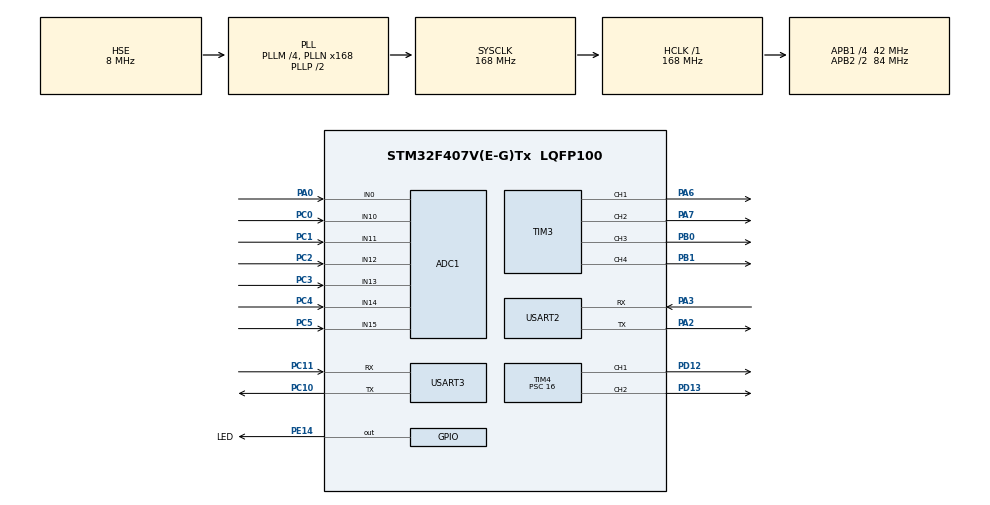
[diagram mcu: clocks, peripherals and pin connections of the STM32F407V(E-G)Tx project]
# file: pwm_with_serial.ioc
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ADC1.Channel-3\#ChannelRegularConversion=ADC_CHANNEL_0
ADC1.Channel-4\#ChannelRegularConversion=ADC_CHANNEL_10
ADC1.Channel-5\#ChannelRegularConversion=ADC_CHANNEL_11
ADC1.Channel-6\#ChannelRegularConversion=ADC_CHANNEL_12
ADC1.Channel-7\#ChannelRegularConversion=ADC_CHANNEL_13
ADC1.Channel-8\#ChannelRegularConversion=ADC_CHANNEL_14
ADC1.Channel-9\#ChannelRegularConversion=ADC_CHANNEL_15
ADC1.ContinuousConvMode=ENABLE
ADC1.NbrOfConversion=7
ADC1.NbrOfConversionFlag=1
ADC1.Rank-3\#ChannelRegularConversion=1
ADC1.Rank-4\#ChannelRegularConversion=2
ADC1.Rank-5\#ChannelRegularConversion=3
ADC1.Rank-6\#ChannelRegularConversion=4
ADC1.Rank-7\#ChannelRegularConversion=5
ADC1.Rank-8\#ChannelRegularConversion=6
ADC1.Rank-9\#ChannelRegularConversion=7
ADC1.SamplingTime-3\#ChannelRegularConversion=ADC_SAMPLETIME_15CYCLES
ADC1.SamplingTime-4\#ChannelRegularConversion=ADC_SAMPLETIME_15CYCLES
ADC1.SamplingTime-5\#ChannelRegularConversion=ADC_SAMPLETIME_15CYCLES
ADC1.SamplingTime-6\#ChannelRegularConversion=ADC_SAMPLETIME_15CYCLES
ADC1.SamplingTime-7\#ChannelRegularConversion=ADC_SAMPLETIME_15CYCLES
ADC1.SamplingTime-8\#ChannelRegularConversion=ADC_SAMPLETIME_15CYCLES
ADC1.SamplingTime-9\#ChannelRegularConversion=ADC_SAMPLETIME_15CYCLES
ADC1.master=1
Dma.ADC1.1.Direction=DMA_PERIPH_TO_MEMORY
Dma.ADC1.1.FIFOMode=DMA_FIFOMODE_DISABLE
Dma.ADC1.1.Instance=DMA2_Stream0
Dma.ADC1.1.MemDataAlignment=DMA_MDATAALIGN_WORD
Dma.ADC1.1.MemInc=DMA_MINC_ENABLE
Dma.ADC1.1.Mode=DMA_CIRCULAR
Dma.ADC1.1.PeriphDataAlignment=DMA_PDATAALIGN_WORD
Dma.ADC1.1.PeriphInc=DMA_PINC_DISABLE
Dma.ADC1.1.Priority=DMA_PRIORITY_LOW
Dma.Request0=USART2_RX
Dma.Request1=ADC1
Dma.Request2=USART3_RX
Dma.Request3=USART3_TX
Dma.USART2_RX.0.Direction=DMA_PERIPH_TO_MEMORY
Dma.USART2_RX.0.FIFOMode=DMA_FIFOMODE_DISABLE
Dma.USART2_RX.0.Instance=DMA1_Stream5
Dma.USART2_RX.0.MemDataAlignment=DMA_MDATAALIGN_BYTE
Dma.USART2_RX.0.MemInc=DMA_MINC_ENABLE
Dma.USART2_RX.0.Mode=DMA_NORMAL
Dma.USART2_RX.0.PeriphDataAlignment=DMA_PDATAALIGN_BYTE
Dma.USART2_RX.0.PeriphInc=DMA_PINC_DISABLE
Dma.USART2_RX.0.Priority=DMA_PRIORITY_LOW
Dma.USART3_RX.2.Direction=DMA_PERIPH_TO_MEMORY
Dma.USART3_RX.2.FIFOMode=DMA_FIFOMODE_DISABLE
Dma.USART3_RX.2.Instance=DMA1_Stream1
Dma.USART3_RX.2.MemDataAlignment=DMA_MDATAALIGN_BYTE
Dma.USART3_RX.2.MemInc=DMA_MINC_ENABLE
Dma.USART3_RX.2.Mode=DMA_NORMAL
Dma.USART3_RX.2.PeriphDataAlignment=DMA_PDATAALIGN_BYTE
Dma.USART3_RX.2.PeriphInc=DMA_PINC_DISABLE
Dma.USART3_RX.2.Priority=DMA_PRIORITY_LOW
Dma.USART3_TX.3.Direction=DMA_MEMORY_TO_PERIPH
Dma.USART3_TX.3.FIFOMode=DMA_FIFOMODE_DISABLE
Dma.USART3_TX.3.Instance=DMA1_Stream3
Dma.USART3_TX.3.MemDataAlignment=DMA_MDATAALIGN_BYTE
Dma.USART3_TX.3.MemInc=DMA_MINC_ENABLE
Dma.USART3_TX.3.Mode=DMA_NORMAL
Dma.USART3_TX.3.PeriphDataAlignment=DMA_PDATAALIGN_BYTE
Dma.USART3_TX.3.PeriphInc=DMA_PINC_DISABLE
Dma.USART3_TX.3.Priority=DMA_PRIORITY_LOW
Mcu.Family=STM32F4
Mcu.Name=STM32F407V(E-G)Tx
Mcu.Package=LQFP100
NVIC.DMA1_Stream1_IRQn=true\:0\:0\:false\:false\:true\:false\:true
NVIC.DMA1_Stream3_IRQn=true\:0\:0\:false\:false\:true\:false\:true
NVIC.DMA1_Stream5_IRQn=true\:0\:0\:false\:false\:true\:false\:true
NVIC.DMA2_Stream0_IRQn=true\:0\:0\:false\:false\:true\:false\:true
NVIC.PriorityGroup=NVIC_PRIORITYGROUP_4
NVIC.USART2_IRQn=true\:0\:0\:false\:false\:true\:true\:true
PA0-WKUP.Signal=ADCx_IN0
PA13.Mode=Serial_Wire
PA13.Signal=SYS_JTMS-SWDIO
PA14.Mode=Serial_Wire
PA14.Signal=SYS_JTCK-SWCLK
PA2.Mode=Asynchronous
PA2.Signal=USART2_TX
PA3.Mode=Asynchronous
PA3.Signal=USART2_RX
PA6.Signal=S_TIM3_CH1
PA7.Signal=S_TIM3_CH2
PB0.Signal=S_TIM3_CH3
PB1.Signal=S_TIM3_CH4
PB3.Signal=SYS_JTDO-SWO
PC0.Signal=ADCx_IN10
PC1.Signal=ADCx_IN11
PC10.Mode=Asynchronous
PC10.Signal=USART3_TX
PC11.Mode=Asynchronous
PC11.Signal=USART3_RX
PC2.Signal=ADCx_IN12
PC3.Signal=ADCx_IN13
PC4.Signal=ADCx_IN14
PC5.Signal=ADCx_IN15
PD12.Signal=S_TIM4_CH1
PD13.Signal=S_TIM4_CH2
PE14.GPIO_Label=LED
PE14.GPIO_PuPd=GPIO_PULLDOWN
PE14.Signal=GPIO_Output
PH0-OSC_IN.Mode=HSE-External-Oscillator
PH0-OSC_IN.Signal=RCC_OSC_IN
PH1-OSC_OUT.Mode=HSE-External-Oscillator
PH1-OSC_OUT.Signal=RCC_OSC_OUT
ProjectManager.HeapSize=0x200
ProjectManager.StackSize=0x400
ProjectManager.TargetToolchain=STM32CubeIDE
RCC.48MHZClocksFreq_Value=84000000
RCC.AHBFreq_Value=168000000
RCC.APB1CLKDivider=RCC_HCLK_DIV4
RCC.APB1Freq_Value=42000000
RCC.APB1TimFreq_Value=84000000
RCC.APB2CLKDivider=RCC_HCLK_DIV2
RCC.APB2Freq_Value=84000000
RCC.APB2TimFreq_Value=168000000
RCC.CortexFreq_Value=168000000
RCC.HCLKFreq_Value=168000000
RCC.HSE_VALUE=8000000
RCC.HSI_VALUE=16000000
RCC.LSE_VALUE=32768
RCC.PLLM=4
RCC.PLLN=168
RCC.PLLSourceVirtual=RCC_PLLSOURCE_HSE
RCC.SYSCLKFreq_VALUE=168000000
RCC.SYSCLKSource=RCC_SYSCLKSOURCE_PLLCLK
RCC.VCOOutputFreq_Value=336000000
SH.ADCx_IN0.0=ADC1_IN0,IN0
SH.ADCx_IN10.0=ADC1_IN10,IN10
SH.ADCx_IN11.0=ADC1_IN11,IN11
SH.ADCx_IN12.0=ADC1_IN12,IN12
SH.ADCx_IN13.0=ADC1_IN13,IN13
SH.ADCx_IN14.0=ADC1_IN14,IN14
SH.ADCx_IN15.0=ADC1_IN15,IN15
SH.S_TIM3_CH1.0=TIM3_CH1,PWM Generation1 CH1
SH.S_TIM3_CH2.0=TIM3_CH2,PWM Generation2 CH2
SH.S_TIM3_CH3.0=TIM3_CH3,PWM Generation3 CH3
SH.S_TIM3_CH4.0=TIM3_CH4,PWM Generation4 CH4
SH.S_TIM4_CH1.0=TIM4_CH1,PWM Generation1 CH1
SH.S_TIM4_CH2.0=TIM4_CH2,PWM Generation2 CH2
TIM3.Channel-PWM\ Generation1\ CH1=TIM_CHANNEL_1
TIM3.Channel-PWM\ Generation2\ CH2=TIM_CHANNEL_2
TIM3.Channel-PWM\ Generation3\ CH3=TIM_CHANNEL_3
TIM3.Channel-PWM\ Generation4\ CH4=TIM_CHANNEL_4
TIM4.Channel-PWM\ Generation1\ CH1=TIM_CHANNEL_1
TIM4.Channel-PWM\ Generation2\ CH2=TIM_CHANNEL_2
TIM4.Period=100
TIM4.Prescaler=16
TIM4.Pulse-PWM\ Generation1\ CH1=50
USART2.VirtualMode=VM_ASYNC
USART3.VirtualMode=VM_ASYNC
VP_TIM3_VS_ClockSourceINT.Mode=Internal
VP_TIM4_VS_ClockSourceINT.Mode=Internal
board=custom

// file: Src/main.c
/* USER CODE BEGIN Header */
/**
  ******************************************************************************
  * @file           : main.c
  * @brief          : Main program body
  ******************************************************************************
  * @attention
  *
  * <h2><center>&copy; Copyright (c) 2019 STMicroelectronics.
  * All rights reserved.</center></h2>
  *
  * This software component is licensed by ST under BSD 3-Clause license,
  * the "License"; You may not use this file except in compliance with the
  * License. You may obtain a copy of the License at:
  *                        opensource.org/licenses/BSD-3-Clause
  *
  ******************************************************************************
  */
/* USER CODE END Header */

#include "main.h"

/* USER CODE BEGIN Includes */
#include "UartRingbuffer.h"
#include "cosine_transform.h"
#include <stdio.h>
/* USER CODE END Includes */

/* USER CODE BEGIN PD */
#define EPOCH_TIME_SECONDS 1
#define REFERENCE_VOLTAGE_VOLTS 4.5
#define GAIN_SETTING 24.0
/* USER CODE END PD */

ADC_HandleTypeDef hadc1;
DMA_HandleTypeDef hdma_adc1;

TIM_HandleTypeDef htim3;
TIM_HandleTypeDef htim4;

UART_HandleTypeDef huart2;
UART_HandleTypeDef huart3;
DMA_HandleTypeDef hdma_usart2_rx;
DMA_HandleTypeDef hdma_usart3_rx;
DMA_HandleTypeDef hdma_usart3_tx;

/* USER CODE BEGIN PV */

#ifdef __GNUC__
	#define PUTCHAR_PROTOTYPE int __io_putchar(int ch)
#else
	#define PUTCHAR_PROTOTYPE int fputc(int ch, FILE *f)
#endif

PUTCHAR_PROTOTYPE
{
	HAL_UART_Transmit(&huart2, (uint8_t*)&ch, 1, 0xFFFF);
	return ch;
}

void user_pwm_setvalue(long value);
/* USER CODE END PV */

void SystemClock_Config(void);
static void MX_GPIO_Init(void);
static void MX_DMA_Init(void);
static void MX_TIM4_Init(void);
static void MX_USART2_UART_Init(void);
static void MX_ADC1_Init(void);
static void MX_TIM3_Init(void);
static void MX_USART3_UART_Init(void);
/* USER CODE BEGIN PFP */

unsigned long allocate_sample(unsigned long*, unsigned long*, unsigned long [][524]);
int parse_sample(unsigned char [], unsigned long*, unsigned long*);
int get_time_section(unsigned int, unsigned long [], double, unsigned long, unsigned long [][524]);
unsigned long convert_twos_compliment_to_decimal(unsigned long);
double convert_sample_to_voltage(unsigned long);
void convert_epoch_to_volts(unsigned long[], double[]);

/* USER CODE END PFP */

/* USER CODE BEGIN 0 */
uint32_t adc_values[7] = {0}; //to store the adc values

float get_voltage(uint32_t adc_reading) {
	return ((float)adc_reading * 3.3 / (float)32768);  // since 3.3V system and 15 bit adc resolution
}

/* USER CODE END 0 */

int main(void)
{

  /* MCU Configuration--------------------------------------------------------*/

  /* Reset of all peripherals, Initializes the Flash interface and the Systick. */
  HAL_Init();

  /* Configure the system clock */
  SystemClock_Config();

  /* Initialize all configured peripherals */
  MX_GPIO_Init();
  MX_DMA_Init();
  MX_TIM4_Init();
  MX_USART2_UART_Init();
  MX_ADC1_Init();
  MX_TIM3_Init();
  MX_USART3_UART_Init();
  /* USER CODE BEGIN 2 */
  HAL_ADC_Start_DMA(&hadc1, adc_values, 7); //start the adc in dma mode

  Ringbuf_init();
  HAL_TIM_PWM_Start(&htim4, TIM_CHANNEL_1);
//  long pwm_value = 0;
//  int step = 0;

  unsigned char buffer_data[40] = {0};
  int byte_num = 0;
  unsigned long all_samples[2][524];
  unsigned long current_sample = 0;
  int buffer_filled = 0;

  /* USER CODE END 2 */

  /* Infinite loop */
  while (1)
  {

    /* USER CODE BEGIN 3 */

	  if (IsDataAvailable()) {
		  if (byte_num >= 40) {
			  byte_num = 0;
		  }
		  buffer_data[byte_num] = Uart_read();

          if (buffer_data[byte_num] == '\n' || buffer_data[byte_num] == '\r') {
        	  unsigned long this_sample;
        	  unsigned long this_sample_id;
        	  //printf("Parsing sample...\r\n");
        	  int parse_success = parse_sample(buffer_data, &this_sample_id, &this_sample);
        	  if (parse_success) {
        		  //printf("Parsed the sample\r\n");
        		  current_sample = allocate_sample(&this_sample_id, &this_sample, all_samples);
        		  printf("Sample: %lu\n\r", all_samples[0][current_sample]);
//        		  printf("\r\nSo far we have:\n\r");
//        		  for (unsigned long i = 0; i <= current_sample; i++) {
//        			  printf("Sample %lu:\r\n", i);
//        			  printf("\tSample ID:\t %lu\r\n", all_samples[0][i]);
//        			  printf("\tCH1:\t %lu\r\n", all_samples[1][i]);
//        		  }
        		  if (current_sample >= (250 * EPOCH_TIME_SECONDS) - 1) {
        			  buffer_filled = 1;
        		  }
        		  if (buffer_filled) {
        			  unsigned long last_epoch[250 * EPOCH_TIME_SECONDS] = {0};
        			  double last_epoch_volts[250 * EPOCH_TIME_SECONDS] = {0};
        			  double *DCT_Coeffs;
        			  get_time_section(1, last_epoch, EPOCH_TIME_SECONDS, current_sample, all_samples);
        			  convert_epoch_to_volts(last_epoch, last_epoch_volts);
        			  DCT_Coeffs = cosine_transform_data(250 * EPOCH_TIME_SECONDS, last_epoch_volts);

        			  printf("These are the DCT Coeffs:\n\r");
        			  for (int i = 0; i < (250 * EPOCH_TIME_SECONDS); i++) {
        				  printf("\t%f\n\r", DCT_Coeffs[i]);
        			  }
        			  printf("\n\r");
        		  }

              }
          byte_num = 0;
          }
          else {
        	  byte_num++;
        	  //printf("Byte Num: %d\r\n", byte_num);

          }
//		  Uart_write(data);
//		  if (data == '\r') {
//			  double* DCT_Coeffs;
//			  double signal[10] = {1.23, 1.45, 5.656, 23.65, 2.56, 34.54, 6.43, 1.34, 8.98, 10.00};
//			  DCT_Coeffs = cosine_transform_data(10, signal);
//			  for (int i = 0; i < 10; i++) {
//				  printf("This is the coefficient:");
//				  printf("%lf\r\n", DCT_Coeffs[i]);
//			  }
//		  }

	  }

//	  Uart_sendstring("CH0- ");
//	  Uart_write((adc_values[0]/1000)+48);
//	  Uart_write(((adc_values[0]%1000)/100)+48);
//	  Uart_write(((adc_values[0]%100)/10)+48);
//	  Uart_write(((adc_values[0]%10))+48);
//	  Uart_sendstring("\r\n");
//	  Uart_sendstring("CH1- ");
//	  Uart_write((adc_values[1]/1000)+48);
//	  Uart_write(((adc_values[1]%1000)/100)+48);
//	  Uart_write(((adc_values[1]%100)/10)+48);
//	  Uart_write(((adc_values[1]%10))+48);
//	  Uart_sendstring("\r\n");
//	  Uart_sendstring("CH2- ");
//	  Uart_write((adc_values[2]/1000)+48);
//	  Uart_write(((adc_values[2]%1000)/100)+48);
//	  Uart_write(((adc_values[2]%100)/10)+48);
//	  Uart_write(((adc_values[2]%10))+48);
//	  Uart_sendstring("\r\n");
//	  Uart_sendstring("CH3- ");
//	  Uart_write((adc_values[3]/1000)+48);
//	  Uart_write(((adc_values[3]%1000)/100)+48);
//	  Uart_write(((adc_values[3]%100)/10)+48);
//	  Uart_write(((adc_values[3]%10))+48);
//	  Uart_sendstring("\r\n");
//	  Uart_sendstring("CH4- ");
//	  Uart_write((adc_values[4]/1000)+48);
//	  Uart_write(((adc_values[4]%1000)/100)+48);
//	  Uart_write(((adc_values[4]%100)/10)+48);
//	  Uart_write(((adc_values[4]%10))+48);
//	  Uart_sendstring("\r\n");
//	  Uart_sendstring("CH5- ");
//	  Uart_write((adc_values[5]/1000)+48);
//	  Uart_write(((adc_values[5]%1000)/100)+48);
//	  Uart_write(((adc_values[5]%100)/10)+48);
//	  Uart_write(((adc_values[5]%10))+48);
//	  Uart_sendstring("\r\n");
//	  Uart_sendstring("CH6- ");
//	  Uart_write((adc_values[6]/1000)+48);
//	  Uart_write(((adc_values[6]%1000)/100)+48);
//	  Uart_write(((adc_values[6]%100)/10)+48);
//	  Uart_write(((adc_values[6]%10))+48);
//	  Uart_sendstring("\r\n");
//	  Uart_sendstring("\r\n");

//	  HAL_Delay(1000);
//	  if(pwm_value == 0) step = 100;
//	  if(pwm_value == 2000) step = -100;
//	  pwm_value += step;
//	  user_pwm_setvalue(pwm_value);
  }
  /* USER CODE END 3 */
}

void SystemClock_Config(void)
{
  RCC_OscInitTypeDef RCC_OscInitStruct = {0};
  RCC_ClkInitTypeDef RCC_ClkInitStruct = {0};

  /** Configure the main internal regulator output voltage
  */
  __HAL_RCC_PWR_CLK_ENABLE();
  __HAL_PWR_VOLTAGESCALING_CONFIG(PWR_REGULATOR_VOLTAGE_SCALE1);
  /** Initializes the CPU, AHB and APB busses clocks
  */
  RCC_OscInitStruct.OscillatorType = RCC_OSCILLATORTYPE_HSE;
  RCC_OscInitStruct.HSEState = RCC_HSE_ON;
  RCC_OscInitStruct.PLL.PLLState = RCC_PLL_ON;
  RCC_OscInitStruct.PLL.PLLSource = RCC_PLLSOURCE_HSE;
  RCC_OscInitStruct.PLL.PLLM = 4;
  RCC_OscInitStruct.PLL.PLLN = 168;
  RCC_OscInitStruct.PLL.PLLP = RCC_PLLP_DIV2;
  RCC_OscInitStruct.PLL.PLLQ = 4;
  if (HAL_RCC_OscConfig(&RCC_OscInitStruct) != HAL_OK)
  {
    Error_Handler();
  }
  /** Initializes the CPU, AHB and APB busses clocks
  */
  RCC_ClkInitStruct.ClockType = RCC_CLOCKTYPE_HCLK|RCC_CLOCKTYPE_SYSCLK
                              |RCC_CLOCKTYPE_PCLK1|RCC_CLOCKTYPE_PCLK2;
  RCC_ClkInitStruct.SYSCLKSource = RCC_SYSCLKSOURCE_PLLCLK;
  RCC_ClkInitStruct.AHBCLKDivider = RCC_SYSCLK_DIV1;
  RCC_ClkInitStruct.APB1CLKDivider = RCC_HCLK_DIV4;
  RCC_ClkInitStruct.APB2CLKDivider = RCC_HCLK_DIV2;

  if (HAL_RCC_ClockConfig(&RCC_ClkInitStruct, FLASH_LATENCY_5) != HAL_OK)
  {
    Error_Handler();
  }
}

static void MX_ADC1_Init(void)
{

  ADC_ChannelConfTypeDef sConfig = {0};

  /** Configure the global features of the ADC (Clock, Resolution, Data Alignment and number of conversion)
  */
  hadc1.Instance = ADC1;
  hadc1.Init.ClockPrescaler = ADC_CLOCK_SYNC_PCLK_DIV4;
  hadc1.Init.Resolution = ADC_RESOLUTION_12B;
  hadc1.Init.ScanConvMode = ENABLE;
  hadc1.Init.ContinuousConvMode = ENABLE;
  hadc1.Init.DiscontinuousConvMode = DISABLE;
  hadc1.Init.ExternalTrigConvEdge = ADC_EXTERNALTRIGCONVEDGE_NONE;
  hadc1.Init.ExternalTrigConv = ADC_SOFTWARE_START;
  hadc1.Init.DataAlign = ADC_DATAALIGN_RIGHT;
  hadc1.Init.NbrOfConversion = 7;
  hadc1.Init.DMAContinuousRequests = DISABLE;
  hadc1.Init.EOCSelection = ADC_EOC_SINGLE_CONV;
  if (HAL_ADC_Init(&hadc1) != HAL_OK)
  {
    Error_Handler();
  }
  /** Configure for the selected ADC regular channel its corresponding rank in the sequencer and its sample time.
  */
  sConfig.Channel = ADC_CHANNEL_0;
  sConfig.Rank = 1;
  sConfig.SamplingTime = ADC_SAMPLETIME_15CYCLES;
  if (HAL_ADC_ConfigChannel(&hadc1, &sConfig) != HAL_OK)
  {
    Error_Handler();
  }
  /** Configure for the selected ADC regular channel its corresponding rank in the sequencer and its sample time.
  */
  sConfig.Channel = ADC_CHANNEL_10;
  sConfig.Rank = 2;
  if (HAL_ADC_ConfigChannel(&hadc1, &sConfig) != HAL_OK)
  {
    Error_Handler();
  }
  /** Configure for the selected ADC regular channel its corresponding rank in the sequencer and its sample time.
  */
  sConfig.Channel = ADC_CHANNEL_11;
  sConfig.Rank = 3;
  if (HAL_ADC_ConfigChannel(&hadc1, &sConfig) != HAL_OK)
  {
    Error_Handler();
  }
  /** Configure for the selected ADC regular channel its corresponding rank in the sequencer and its sample time.
  */
  sConfig.Channel = ADC_CHANNEL_12;
  sConfig.Rank = 4;
  if (HAL_ADC_ConfigChannel(&hadc1, &sConfig) != HAL_OK)
  {
    Error_Handler();
  }
  /** Configure for the selected ADC regular channel its corresponding rank in the sequencer and its sample time.
  */
  sConfig.Channel = ADC_CHANNEL_13;
  sConfig.Rank = 5;
  if (HAL_ADC_ConfigChannel(&hadc1, &sConfig) != HAL_OK)
  {
    Error_Handler();
  }
  /** Configure for the selected ADC regular channel its corresponding rank in the sequencer and its sample time.
  */
  sConfig.Channel = ADC_CHANNEL_14;
  sConfig.Rank = 6;
  if (HAL_ADC_ConfigChannel(&hadc1, &sConfig) != HAL_OK)
  {
    Error_Handler();
  }
  /** Configure for the selected ADC regular channel its corresponding rank in the sequencer and its sample time.
  */
  sConfig.Channel = ADC_CHANNEL_15;
  sConfig.Rank = 7;
  if (HAL_ADC_ConfigChannel(&hadc1, &sConfig) != HAL_OK)
  {
    Error_Handler();
  }

}

static void MX_TIM3_Init(void)
{

  TIM_ClockConfigTypeDef sClockSourceConfig = {0};
  TIM_MasterConfigTypeDef sMasterConfig = {0};
  TIM_OC_InitTypeDef sConfigOC = {0};

  htim3.Instance = TIM3;
  htim3.Init.Prescaler = 0;
  htim3.Init.CounterMode = TIM_COUNTERMODE_UP;
  htim3.Init.Period = 0;
  htim3.Init.ClockDivision = TIM_CLOCKDIVISION_DIV1;
  htim3.Init.AutoReloadPreload = TIM_AUTORELOAD_PRELOAD_DISABLE;
  if (HAL_TIM_Base_Init(&htim3) != HAL_OK)
  {
    Error_Handler();
  }
  sClockSourceConfig.ClockSource = TIM_CLOCKSOURCE_INTERNAL;
  if (HAL_TIM_ConfigClockSource(&htim3, &sClockSourceConfig) != HAL_OK)
  {
    Error_Handler();
  }
  if (HAL_TIM_PWM_Init(&htim3) != HAL_OK)
  {
    Error_Handler();
  }
  sMasterConfig.MasterOutputTrigger = TIM_TRGO_RESET;
  sMasterConfig.MasterSlaveMode = TIM_MASTERSLAVEMODE_DISABLE;
  if (HAL_TIMEx_MasterConfigSynchronization(&htim3, &sMasterConfig) != HAL_OK)
  {
    Error_Handler();
  }
  sConfigOC.OCMode = TIM_OCMODE_PWM1;
  sConfigOC.Pulse = 0;
  sConfigOC.OCPolarity = TIM_OCPOLARITY_HIGH;
  sConfigOC.OCFastMode = TIM_OCFAST_DISABLE;
  if (HAL_TIM_PWM_ConfigChannel(&htim3, &sConfigOC, TIM_CHANNEL_1) != HAL_OK)
  {
    Error_Handler();
  }
  if (HAL_TIM_PWM_ConfigChannel(&htim3, &sConfigOC, TIM_CHANNEL_2) != HAL_OK)
  {
    Error_Handler();
  }
  if (HAL_TIM_PWM_ConfigChannel(&htim3, &sConfigOC, TIM_CHANNEL_3) != HAL_OK)
  {
    Error_Handler();
  }
  if (HAL_TIM_PWM_ConfigChannel(&htim3, &sConfigOC, TIM_CHANNEL_4) != HAL_OK)
  {
    Error_Handler();
  }
  HAL_TIM_MspPostInit(&htim3);

}

static void MX_TIM4_Init(void)
{

  TIM_ClockConfigTypeDef sClockSourceConfig = {0};
  TIM_MasterConfigTypeDef sMasterConfig = {0};
  TIM_OC_InitTypeDef sConfigOC = {0};

  htim4.Instance = TIM4;
  htim4.Init.Prescaler = 16;
  htim4.Init.CounterMode = TIM_COUNTERMODE_UP;
  htim4.Init.Period = 100;
  htim4.Init.ClockDivision = TIM_CLOCKDIVISION_DIV1;
  htim4.Init.AutoReloadPreload = TIM_AUTORELOAD_PRELOAD_DISABLE;
  if (HAL_TIM_Base_Init(&htim4) != HAL_OK)
  {
    Error_Handler();
  }
  sClockSourceConfig.ClockSource = TIM_CLOCKSOURCE_INTERNAL;
  if (HAL_TIM_ConfigClockSource(&htim4, &sClockSourceConfig) != HAL_OK)
  {
    Error_Handler();
  }
  if (HAL_TIM_PWM_Init(&htim4) != HAL_OK)
  {
    Error_Handler();
  }
  sMasterConfig.MasterOutputTrigger = TIM_TRGO_RESET;
  sMasterConfig.MasterSlaveMode = TIM_MASTERSLAVEMODE_DISABLE;
  if (HAL_TIMEx_MasterConfigSynchronization(&htim4, &sMasterConfig) != HAL_OK)
  {
    Error_Handler();
  }
  sConfigOC.OCMode = TIM_OCMODE_PWM1;
  sConfigOC.Pulse = 50;
  sConfigOC.OCPolarity = TIM_OCPOLARITY_HIGH;
  sConfigOC.OCFastMode = TIM_OCFAST_DISABLE;
  if (HAL_TIM_PWM_ConfigChannel(&htim4, &sConfigOC, TIM_CHANNEL_1) != HAL_OK)
  {
    Error_Handler();
  }
  sConfigOC.Pulse = 0;
  if (HAL_TIM_PWM_ConfigChannel(&htim4, &sConfigOC, TIM_CHANNEL_2) != HAL_OK)
  {
    Error_Handler();
  }
  HAL_TIM_MspPostInit(&htim4);

}

static void MX_USART2_UART_Init(void)
{

  huart2.Instance = USART2;
  huart2.Init.BaudRate = 115200;
  huart2.Init.WordLength = UART_WORDLENGTH_8B;
  huart2.Init.StopBits = UART_STOPBITS_1;
  huart2.Init.Parity = UART_PARITY_NONE;
  huart2.Init.Mode = UART_MODE_TX_RX;
  huart2.Init.HwFlowCtl = UART_HWCONTROL_NONE;
  huart2.Init.OverSampling = UART_OVERSAMPLING_16;
  if (HAL_UART_Init(&huart2) != HAL_OK)
  {
    Error_Handler();
  }

}

static void MX_USART3_UART_Init(void)
{

  huart3.Instance = USART3;
  huart3.Init.BaudRate = 115200;
  huart3.Init.WordLength = UART_WORDLENGTH_8B;
  huart3.Init.StopBits = UART_STOPBITS_1;
  huart3.Init.Parity = UART_PARITY_NONE;
  huart3.Init.Mode = UART_MODE_TX_RX;
  huart3.Init.HwFlowCtl = UART_HWCONTROL_NONE;
  huart3.Init.OverSampling = UART_OVERSAMPLING_16;
  if (HAL_UART_Init(&huart3) != HAL_OK)
  {
    Error_Handler();
  }

}

static void MX_DMA_Init(void)
{

  /* DMA controller clock enable */
  __HAL_RCC_DMA1_CLK_ENABLE();
  __HAL_RCC_DMA2_CLK_ENABLE();

  /* DMA interrupt init */
  /* DMA1_Stream1_IRQn interrupt configuration */
  HAL_NVIC_SetPriority(DMA1_Stream1_IRQn, 0, 0);
  HAL_NVIC_EnableIRQ(DMA1_Stream1_IRQn);
  /* DMA1_Stream3_IRQn interrupt configuration */
  HAL_NVIC_SetPriority(DMA1_Stream3_IRQn, 0, 0);
  HAL_NVIC_EnableIRQ(DMA1_Stream3_IRQn);
  /* DMA1_Stream5_IRQn interrupt configuration */
  HAL_NVIC_SetPriority(DMA1_Stream5_IRQn, 0, 0);
  HAL_NVIC_EnableIRQ(DMA1_Stream5_IRQn);
  /* DMA2_Stream0_IRQn interrupt configuration */
  HAL_NVIC_SetPriority(DMA2_Stream0_IRQn, 0, 0);
  HAL_NVIC_EnableIRQ(DMA2_Stream0_IRQn);

}

static void MX_GPIO_Init(void)
{
  GPIO_InitTypeDef GPIO_InitStruct = {0};

  /* GPIO Ports Clock Enable */
  __HAL_RCC_GPIOH_CLK_ENABLE();
  __HAL_RCC_GPIOC_CLK_ENABLE();
  __HAL_RCC_GPIOA_CLK_ENABLE();
  __HAL_RCC_GPIOB_CLK_ENABLE();
  __HAL_RCC_GPIOE_CLK_ENABLE();
  __HAL_RCC_GPIOD_CLK_ENABLE();

  /*Configure GPIO pin Output Level */
  HAL_GPIO_WritePin(LED_GPIO_Port, LED_Pin, GPIO_PIN_RESET);

  /*Configure GPIO pin : LED_Pin */
  GPIO_InitStruct.Pin = LED_Pin;
  GPIO_InitStruct.Mode = GPIO_MODE_OUTPUT_PP;
  GPIO_InitStruct.Pull = GPIO_PULLDOWN;
  GPIO_InitStruct.Speed = GPIO_SPEED_FREQ_LOW;
  HAL_GPIO_Init(LED_GPIO_Port, &GPIO_InitStruct);

}

/* USER CODE BEGIN 4 */
void user_pwm_setvalue(long value)
{
    TIM_OC_InitTypeDef sConfigOC;

    sConfigOC.OCMode = TIM_OCMODE_PWM1;
    sConfigOC.Pulse = value;
    sConfigOC.OCPolarity = TIM_OCPOLARITY_HIGH;
    sConfigOC.OCFastMode = TIM_OCFAST_DISABLE;
    HAL_TIM_PWM_ConfigChannel(&htim4, &sConfigOC, TIM_CHANNEL_1);
    HAL_TIM_PWM_Start(&htim4, TIM_CHANNEL_1);
}

int parse_sample(unsigned char current_sample[], unsigned long *this_sample_id, unsigned long *channel_data) {
	unsigned int channel_data_length = 0;

    //printf("Function called\r\n");

	for (int i = 0; i < 40; i++) {
		if (current_sample[i] == '\n' || current_sample[i] == '\r') {
			channel_data_length = i;
			//printf("CDL: %u\r\n", channel_data_length);
			break;
		}
	}
	if ((channel_data_length == 0) || (channel_data_length % 4)) { /* If there is not a multiple of 4 bytes before hitting \n */
		//printf("Outta here\r\n");
		return 0;
	}

	/* Save the Sample ID */
	*this_sample_id = (current_sample[0] << 24) + (current_sample[1] << 16) + (current_sample[2] << 8) + current_sample[3];

    /* From the length of the serial buffer, calculate the number of channels */
	unsigned int number_of_channels = 1;//(channel_data_length / 4) - 1;    /* We know there is a multiple of 4, so integer divide is ok. Subtract 1 for sample ID header word */
	//printf("Num channels: %u\r\n", number_of_channels);

	for (int channel = 1; channel <= number_of_channels; channel++) {
		*channel_data = (current_sample[4 * channel] << 24)
				              + (current_sample[4 * channel + 1] << 16)
							  + (current_sample[4 * channel + 2] << 8)
							  + (current_sample[4 * channel + 3]);
		//printf("Just got: %lu\r\n", *channel_data);
	}

	return 1;
}

unsigned long allocate_sample(unsigned long *this_sample_id, unsigned long *this_sample_channel_data, unsigned long all_samples_channel_data[][524]) {
	static unsigned long expected_sample_id = 1;
	if (*this_sample_channel_data != expected_sample_id)
    {
		//printf("Mismatched Sample IDs!\r\n");
		/* Missing data, handle appropriately */
    }

	unsigned long index = (expected_sample_id - 1) % 524;

	all_samples_channel_data[0][index] = expected_sample_id;
	all_samples_channel_data[1][index] = *this_sample_channel_data;

	expected_sample_id++;
	return index;

}

int get_time_section(unsigned int channel, unsigned long channel_data[], double seconds, unsigned long initial_index, unsigned long all_channel_data[][524]) {
	unsigned long samples_to_read = (unsigned long)(seconds * 250);

	unsigned long current_index = initial_index;
	for (unsigned long samples_left = samples_to_read; samples_left > 0; samples_left--) {
		channel_data[samples_left - 1] = all_channel_data[channel][current_index];
		if (current_index == 0) {
			current_index = 524;
		}
		current_index--;
	}
	return 1;
}

unsigned long convert_twos_compliment_to_decimal(unsigned long twos_compliment) {
	static const int MODULO = 1 << 24;
	static const int MAX_VALUE = (1 << 23) - 1;

	if (twos_compliment > MAX_VALUE) {
		twos_compliment -= MODULO;
	}
	return twos_compliment;
}

double convert_sample_to_voltage(unsigned long sample) {
	unsigned long decimal = convert_twos_compliment_to_decimal(sample);
	return (decimal * (2 * REFERENCE_VOLTAGE_VOLTS / GAIN_SETTING) / (1<<24));

}

void convert_epoch_to_volts(unsigned long epoch[], double result[]) {
	for (int i = 0; i < (250 * EPOCH_TIME_SECONDS); i++) {
		result[i] = convert_sample_to_voltage(epoch[i]);
	}
}

/* USER CODE END 4 */

void Error_Handler(void)
{
}

/************************ (C) COPYRIGHT STMicroelectronics *****END OF FILE****/
